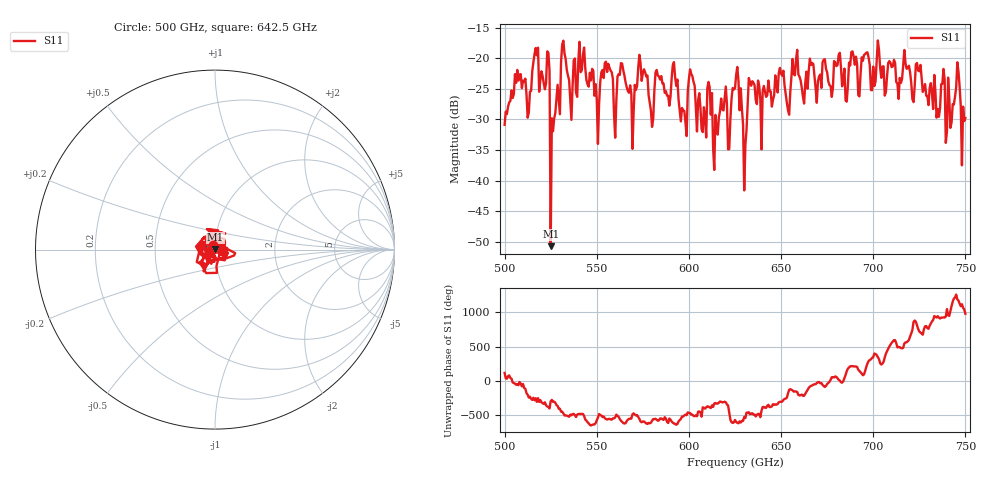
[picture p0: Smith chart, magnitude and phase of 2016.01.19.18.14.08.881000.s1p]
!Created with skrf (http://scikit-rf.org).
# GHz S RI R 50.0
!freq ReS11 ImS11
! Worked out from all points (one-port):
!   401 points, 500 GHz to 750 GHz, reference 50 ohm
!   lowest |S11| = -50.7 dB at 525 GHz (marker M1), VSWR 1.01, Z = 50.1 + j0.266 ohm
!   |S11| at or under -10 dB: start of sweep to end of sweep
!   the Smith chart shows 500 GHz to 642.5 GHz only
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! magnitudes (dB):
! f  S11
! 500 GHz  -30.9
! 506.9 GHz  -21.9
! 513.1 GHz  -28.9
! 516.9 GHz  -18.3
! 523.1 GHz  -18.8
! 525 GHz  -50.7
! 526.2 GHz  -31.9
! 531.2 GHz  -17.7
! 541.9 GHz  -22.0
! 550 GHz  -26.7
! 562.5 GHz  -22.7
! 568.8 GHz  -25.8
! 573.8 GHz  -20.8
! 579.4 GHz  -28.5
! 583.1 GHz  -22.8
! 593.8 GHz  -23.5
! 597.5 GHz  -28.6
! 601.9 GHz  -22.9
! 608.1 GHz  -28.0
! 611.2 GHz  -24.7
! 614.4 GHz  -29.3
! 625 GHz  -24.9
! 630 GHz  -41.6
! 633.8 GHz  -24.5
! 656.2 GHz  -20.1
! 687.5 GHz  -21.2
! 718.8 GHz  -21.6
! 750 GHz  -29.8
